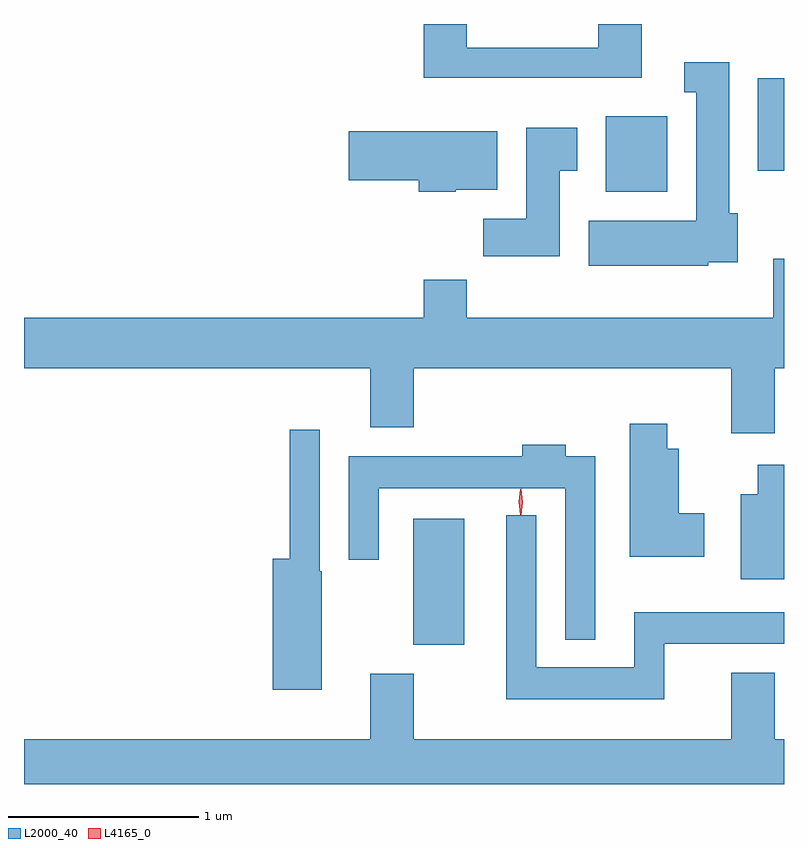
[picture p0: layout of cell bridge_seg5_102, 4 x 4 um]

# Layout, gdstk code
import gdstk
lib = gdstk.Library(unit=1e-6, precision=1e-09)
def R(c, l, rs):  # rectangles x0, y0, x1, y1
    for r in rs: c.add(gdstk.rectangle(r[:2], r[2:], *l))
def P(c, l, *ps):  # polygons
    for p in ps: c.add(gdstk.Polygon(p, *l))
L2000_40 = (2000, 40)
L4165_0 = (4165, 0)

bridge_seg5_102 = lib.new_cell('bridge_seg5_102')
R(bridge_seg5_102, L2000_40, [(1219.446,1479.761,1219.714,1480.424), (1220.461,1482.146,1220.784,1482.544), (1221.261,1482.256,1221.398,1482.744)])
P(bridge_seg5_102, L2000_40, [(1220.649,1483.029),(1220.421,1483.029),(1220.421,1482.904),(1219.729,1482.904),(1219.729,1483.029),(1219.501,1483.029),(1219.501,1482.746),(1220.649,1482.746)],
  [(1220.999,1481.776),(1221.154,1481.776),(1221.154,1482.034),(1221.109,1482.034),(1221.109,1482.829),(1220.873,1482.829),(1220.873,1482.671),(1220.936,1482.671),(1220.936,1481.994),(1220.371,1481.994),(1220.371,1481.756),(1220.999,1481.756)],
  [(1220.219,1482.256),(1220.309,1482.256),(1220.309,1482.484),(1220.041,1482.484),(1220.041,1482.004),(1219.816,1482.004),(1219.816,1481.806),(1220.219,1481.806)],
  [(1219.67,1482.156),(1219.889,1482.156),(1219.889,1482.464),(1219.106,1482.464),(1219.106,1482.206),(1219.476,1482.206),(1219.476,1482.146),(1219.67,1482.146)],
  [(1221.349,1481.216),(1221.398,1481.216),(1221.398,1481.794),(1221.341,1481.794),(1221.341,1481.484),(1219.729,1481.484),(1219.729,1481.684),(1219.501,1481.684),(1219.501,1481.484),(1217.398,1481.484),(1217.398,1481.216),(1219.221,1481.216),(1219.221,1480.906),(1219.449,1480.906),(1219.449,1481.216),(1221.121,1481.216),(1221.121,1480.876),(1221.349,1480.876)],
  [(1220.979,1480.454),(1220.844,1480.454),(1220.844,1480.794),(1220.784,1480.794),(1220.784,1480.924),(1220.586,1480.924),(1220.586,1480.226),(1220.979,1480.226)],
  [(1218.964,1480.15),(1218.954,1480.15),(1218.954,1480.893),(1218.796,1480.893),(1218.796,1480.214),(1218.706,1480.214),(1218.706,1479.526),(1218.964,1479.526)],
  [(1220.404,1480.754),(1220.249,1480.754),(1220.249,1480.814),(1220.021,1480.814),(1220.021,1480.754),(1219.106,1480.754),(1219.106,1480.208),(1219.264,1480.208),(1219.264,1480.586),(1220.246,1480.586),(1220.246,1479.788),(1220.404,1479.788)],
  [(1221.398,1480.709),(1221.261,1480.709),(1221.261,1480.554),(1221.171,1480.554),(1221.171,1480.106),(1221.398,1480.106)],
  [(1220.769,1479.766),(1221.398,1479.766),(1221.398,1479.934),(1220.611,1479.934),(1220.611,1479.644),(1220.094,1479.644),(1220.094,1480.443),(1219.936,1480.443),(1219.936,1479.476),(1220.769,1479.476)],
  [(1221.398,1479.264),(1221.349,1479.264),(1221.349,1479.614),(1221.121,1479.614),(1221.121,1479.264),(1219.449,1479.264),(1219.449,1479.609),(1219.221,1479.609),(1219.221,1479.264),(1217.398,1479.264),(1217.398,1479.029),(1221.398,1479.029)])
P(bridge_seg5_102, L4165_0, [(1220.011,1480.447),(1220.002,1480.514),(1220.011,1480.58),(1220.012,1480.58),(1220.012,1480.58),(1220.022,1480.514),(1220.012,1480.447),(1220.012,1480.447)],
  [(1220.014,1480.444),(1220.014,1480.444),(1220.004,1480.513),(1220.014,1480.582),(1220.014,1480.583),(1220.015,1480.582),(1220.024,1480.513),(1220.015,1480.444)])

lib.write_gds('bridge_seg5_102.gds')
